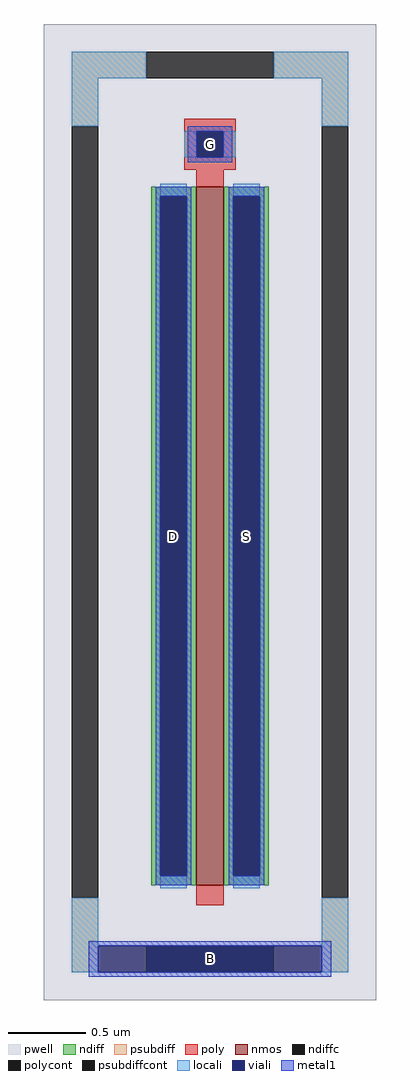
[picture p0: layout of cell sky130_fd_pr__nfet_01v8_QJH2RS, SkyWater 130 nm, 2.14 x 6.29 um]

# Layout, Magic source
magic
tech sky130A
magscale 1 2
<< pwell >>
rect -214 -629 214 629
<< nmos >>
rect -18 -481 18 419
<< ndiff >>
rect -76 407 -18 419
rect -76 -469 -64 407
rect -30 -469 -18 407
rect -76 -481 -18 -469
rect 18 407 76 419
rect 18 -469 30 407
rect 64 -469 76 407
rect 18 -481 76 -469
<< ndiffc >>
rect -64 -469 -30 407
rect 30 -469 64 407
<< psubdiff >>
rect -178 559 -82 593
rect 82 559 178 593
rect -178 497 -144 559
rect 144 497 178 559
rect -178 -559 -144 -497
rect 144 -559 178 -497
rect -178 -593 -82 -559
rect 82 -593 178 -559
<< psubdiffcont >>
rect -82 559 82 593
rect -178 -497 -144 497
rect 144 -497 178 497
rect -82 -593 82 -559
<< poly >>
rect -33 491 33 507
rect -33 457 -17 491
rect 17 457 33 491
rect -33 441 33 457
rect -18 419 18 441
rect -18 -507 18 -481
<< polycont >>
rect -17 457 17 491
<< locali >>
rect -178 559 -82 593
rect 82 559 178 593
rect -178 497 -144 559
rect 144 497 178 559
rect -33 457 -17 491
rect 17 457 33 491
rect -64 407 -30 423
rect -64 -485 -30 -469
rect 30 407 64 423
rect 30 -485 64 -469
rect -178 -593 -144 -497
rect 144 -593 178 -497
<< viali >>
rect -17 457 17 491
rect -64 -469 -30 407
rect 30 -469 64 407
rect -144 -593 -82 -559
rect -82 -593 82 -559
rect 82 -593 144 -559
<< metal1 >>
rect -29 491 29 497
rect -29 457 -17 491
rect 17 457 29 491
rect -29 451 29 457
rect -70 407 -24 419
rect -70 -469 -64 407
rect -30 -469 -24 407
rect -70 -481 -24 -469
rect 24 407 70 419
rect 24 -469 30 407
rect 64 -469 70 407
rect 24 -481 70 -469
rect -156 -559 156 -553
rect -156 -593 -144 -559
rect 144 -593 156 -559
rect -156 -599 156 -593
<< labels >>
rlabel psubdiffcont 0 -576 0 -576 0 B
port 13 nsew
rlabel ndiffc -47 -31 -47 -31 0 D
port 14 nsew
rlabel ndiffc 47 -31 47 -31 0 S
port 15 nsew
rlabel polycont 0 474 0 474 0 G
port 16 nsew
<< properties >>
string FIXED_BBOX -161 -576 161 576
string gencell sky130_fd_pr__nfet_01v8
string library sky130
string parameters w 4.5 l 0.18 m 1 nf 1 diffcov 100 polycov 100 guard 1 glc 1 grc 1 gtc 1 gbc 1 tbcov 100 rlcov 100 topc 1 botc 0 poverlap 0 doverlap 1 lmin 0.15 wmin 0.42 class mosfet compatible {sky130_fd_pr__nfet_01v8 sky130_fd_pr__nfet_01v8_lvt  sky130_fd_bs_flash__special_sonosfet_star  sky130_fd_pr__nfet_g5v0d10v5 sky130_fd_pr__nfet_05v0_nvt  sky130_fd_pr__nfet_03v3_nvt} full_metal 1 conn_gates 0 viasrc 100 viadrn 100 viagate 100 viagb 100 viagr 0 viagl 0 viagt 0 doports 1
<< end >>
